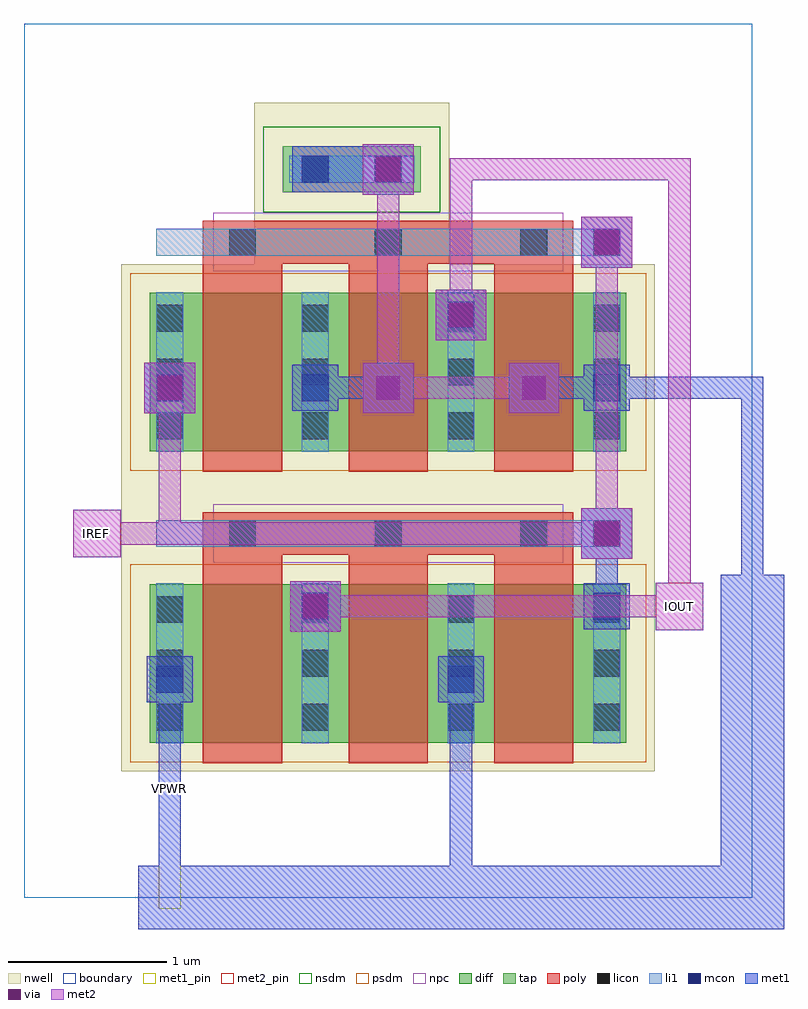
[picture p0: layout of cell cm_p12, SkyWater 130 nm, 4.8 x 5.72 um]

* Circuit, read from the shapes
.subckt cm_p12 IOUT IREF VPWR
XM1 IOUT IREF VPWR VPWR sky130_fd_pr__pfet_01v8 w=1 l=0.5 m=4
XM2 VPWR IREF IREF VPWR sky130_fd_pr__pfet_01v8 w=1 l=0.5 m=2
.ends

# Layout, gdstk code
import gdstk
lib = gdstk.Library(unit=1e-6, precision=1e-09)
def R(c, l, rs):  # rectangles x0, y0, x1, y1
    for r in rs: c.add(gdstk.rectangle(r[:2], r[2:], *l))
def A(c, l, x, y, w, h, nx, ny, dx, dy):  # array of equal rectangles
    R(c, l, [(x+i*dx, y+j*dy, x+i*dx+w, y+j*dy+h) for i in range(nx) for j in range(ny)])
nwell = (64, 20)
diff = (65, 20)
tap = (65, 44)
poly = (66, 20)
licon = (66, 44)
li1 = (67, 20)
mcon = (67, 44)
met1_pin = (68, 16)
met1 = (68, 20)
via = (68, 44)
met2_pin = (69, 16)
met2 = (69, 20)
nsdm = (93, 44)
psdm = (94, 20)
npc = (95, 20)
boundary = (235, 4)

cm_p12 = lib.new_cell('cm_p12')
R(cm_p12, nwell, [(0.615,0.8,3.985,4), (1.455,4,2.685,5.02)])
R(cm_p12, diff, [(0.795,0.98,3.805,1.98), (0.795,2.82,3.805,3.82)])
R(cm_p12, tap, [(1.635,4.455,2.505,4.745)])
A(cm_p12, poly, 1.13, 0.85, 0.5, 1.45, 3, 2, 0.92, 1.84)
R(cm_p12, poly, [(1.13,2.165,3.47,2.435), (1.13,4.005,3.47,4.275)])
A(cm_p12, licon, 0.835, 1.055, 0.17, 0.17, 4, 3, 0.92, 0.34)
A(cm_p12, licon, 1.295, 2.215, 0.17, 0.17, 3, 2, 0.92, 1.84)
A(cm_p12, licon, 0.835, 2.895, 0.17, 0.17, 4, 3, 0.92, 0.34)
R(cm_p12, licon, [(1.755,4.515,1.925,4.685), (2.215,4.515,2.385,4.685)])
A(cm_p12, li1, 0.835, 0.975, 0.17, 1.01, 4, 2, 0.92, 1.84)
R(cm_p12, li1, [(0.835,2.215,3.765,2.385), (0.835,4.055,3.765,4.225), (1.675,4.515,2.465,4.685)])
A(cm_p12, mcon, 1.755, 1.755, 0.17, 0.17, 1, 3, 0, 1.38)
A(cm_p12, mcon, 3.595, 2.215, 0.17, 0.17, 1, 3, 0, 0.92)
R(cm_p12, mcon, [(0.835,1.295,1.005,1.465), (2.675,1.295,2.845,1.465), (3.595,1.755,3.765,1.925), (0.835,3.135,1.005,3.305), (2.675,3.595,2.845,3.765), (2.215,4.515,2.385,4.685)])
R(cm_p12, met1_pin, [(0.85,-0.07,0.99,1.45)])
A(cm_p12, met1, 3.535, 2.155, 0.29, 0.29, 1, 3, 0, 0.92)
R(cm_p12, met1, [(0.72,-0.2,2.96,0.2), (2.56,-0.2,4.8,0.2), (4.4,-0.2,4.8,2.04), (0.85,-0.07,0.99,1.45), (2.69,-0.07,2.83,1.45), (0.775,1.235,1.065,1.525), (2.615,1.235,2.905,1.525), (1.68,1.68,2,2), (1.695,1.695,1.985,1.985), (3.535,1.695,3.825,1.985), (3.61,1.77,3.75,2.37), (4.53,1.77,4.67,3.29), (3.52,2.14,3.84,2.46), (0.76,3.06,1.08,3.38), (2.14,3.06,2.46,3.38), (3.06,3.06,3.38,3.38), (0.775,3.075,1.065,3.365), (1.695,3.075,1.985,3.365), (1.77,3.15,2.37,3.29), (3.15,3.15,3.75,3.29), (3.61,3.15,4.67,3.29), (2.6,3.52,2.92,3.84), (2.615,3.535,2.905,3.825), (3.52,3.98,3.84,4.3), (2.14,4.44,2.46,4.76), (1.695,4.455,2.445,4.745), (2.23,4.53,2.37,4.67)])
R(cm_p12, via, [(1.765,1.765,1.915,1.915), (3.605,2.225,3.755,2.375), (0.845,3.145,0.995,3.295), (2.225,3.145,2.375,3.295), (3.145,3.145,3.295,3.295), (2.685,3.605,2.835,3.755), (3.605,4.065,3.755,4.215), (2.225,4.525,2.375,4.675)])
R(cm_p12, met2_pin, [(3.99,1.69,4.29,1.99), (0.31,2.15,0.61,2.45)])
R(cm_p12, met2, [(1.68,1.68,2,2), (3.99,1.69,4.29,1.99), (1.77,1.77,4.21,1.91), (4.07,1.77,4.21,1.91), (4.07,1.77,4.21,4.67), (3.52,2.14,3.84,2.46), (0.31,2.15,0.61,2.45), (0.39,2.23,0.53,2.37), (0.39,2.23,3.75,2.37), (0.85,2.23,0.99,3.29), (3.61,2.23,3.75,4.21), (0.76,3.06,1.08,3.38), (2.14,3.06,2.46,3.38), (3.06,3.06,3.38,3.38), (2.23,3.15,3.29,3.29), (2.23,3.15,2.37,4.67), (2.6,3.52,2.92,3.84), (2.69,3.61,2.83,4.67), (3.52,3.98,3.84,4.3), (2.14,4.44,2.46,4.76), (2.69,4.53,4.21,4.67)])
R(cm_p12, nsdm, [(1.51,4.33,2.63,4.87)])
R(cm_p12, psdm, [(0.67,0.855,3.93,2.105), (0.67,2.695,3.93,3.945)])
R(cm_p12, npc, [(1.195,2.115,3.405,2.485), (1.195,3.955,3.405,4.325)])
R(cm_p12, boundary, [(0,0,4.6,5.52)])
cm_p12.add(gdstk.Label('VPWR', (0.92,0.69), layer=68, texttype=5))
cm_p12.add(gdstk.Label('IREF', (0.46,2.3), layer=69, texttype=5))
cm_p12.add(gdstk.Label('IOUT', (4.14,1.84), layer=69, texttype=5))
cm_p12.add(gdstk.Label('VPWR', (0.92,0.69), layer=68, texttype=16))
cm_p12.add(gdstk.Label('IREF', (0.46,2.3), layer=69, texttype=16))
cm_p12.add(gdstk.Label('IOUT', (4.14,1.84), layer=69, texttype=16))

lib.write_gds('cm_p12.gds')
